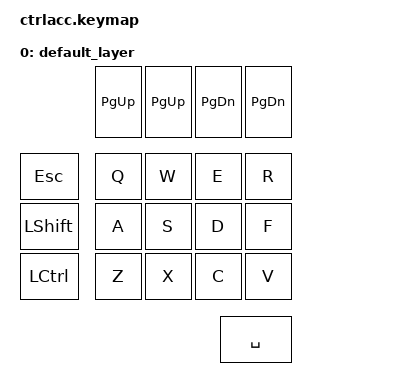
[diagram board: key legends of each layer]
#include <behaviors.dtsi>
#include <dt-bindings/zmk/keys.h>
/ {
    keymap {
        compatible = "zmk,keymap";

        default_layer { // Layer 0
            // -------------------------------------
            // |     1     |     2     |     3     |     4     |    ESC    |
            // |     Q     |     W     |     E     |     R     |   LSHFT   |
            // |     A     |     S     |     D     |     F     |   LCTRL   |
            // |     Z     |     X     |     C     |     V     |   SPACE   |
            bindings = <
                &kp PAGE_UP    &kp PAGE_UP    &kp PAGE_DOWN    &kp PAGE_DOWN    &kp ESCAPE
                &kp Q    &kp W    &kp E     &kp R    &kp LSHFT
                &kp A    &kp S    &kp D     &kp F    &kp LCTRL
                &kp Z    &kp X    &kp C     &kp V    &kp SPACE
            >;
        };
    };
 };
